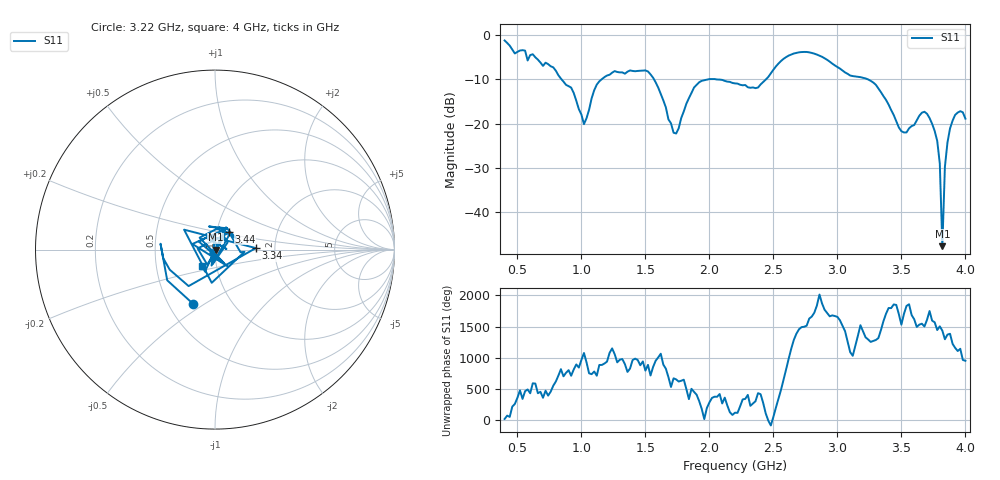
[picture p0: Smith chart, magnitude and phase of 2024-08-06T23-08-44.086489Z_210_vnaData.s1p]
!Created with skrf (http://scikit-rf.org).
# Hz S RI R 50.0
!freq ReS11 ImS11
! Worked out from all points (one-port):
!   181 points, 400 MHz to 4 GHz, reference 50 ohm
!   lowest |S11| = -47.6 dB at 3.82 GHz (marker M1), VSWR 1.01, Z = 50.4 - j0.0472 ohm
!   |S11| at or under -10 dB: 1.568 GHz to 1.988 GHz (420 MHz wide, 23.6 % of centre); 2.059 GHz to 2.441 GHz (382 MHz wide, 17 % of centre); 3.24 GHz to end of sweep (the widest 3 of 4)
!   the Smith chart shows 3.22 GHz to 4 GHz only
!   S11 on the Smith chart (normalised r, x): 3.22 GHz: 0.66, -0.44; 3.34 GHz: 1.59, +0.03; 3.44 GHz: 1.14, +0.23; 4 GHz: 0.85, -0.16
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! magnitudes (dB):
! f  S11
! 400 MHz  -1.2
! 860 MHz  -10.5
! 920 MHz  -11.8
! 1.02 GHz  -20.1
! 1.12 GHz  -11.2
! 1.3 GHz  -8.4
! 1.52 GHz  -8.2
! 1.6 GHz  -11.8
! 1.72 GHz  -22.0
! 1.76 GHz  -21.0
! 1.92 GHz  -10.6
! 2.2 GHz  -10.9
! 2.38 GHz  -11.8
! 2.66 GHz  -4.1
! 3.1 GHz  -9.1
! 3.22 GHz  -9.8
! 3.34 GHz  -12.9
! 3.44 GHz  -18.0
! 3.5 GHz  -21.7
! 3.56 GHz  -21.0
! 3.68 GHz  -17.3
! 3.76 GHz  -21.6
! 3.8 GHz  -29.0
! 3.82 GHz  -47.6
! 3.84 GHz  -29.7
! 3.86 GHz  -24.2
! 3.92 GHz  -18.0
! 4 GHz  -18.8
